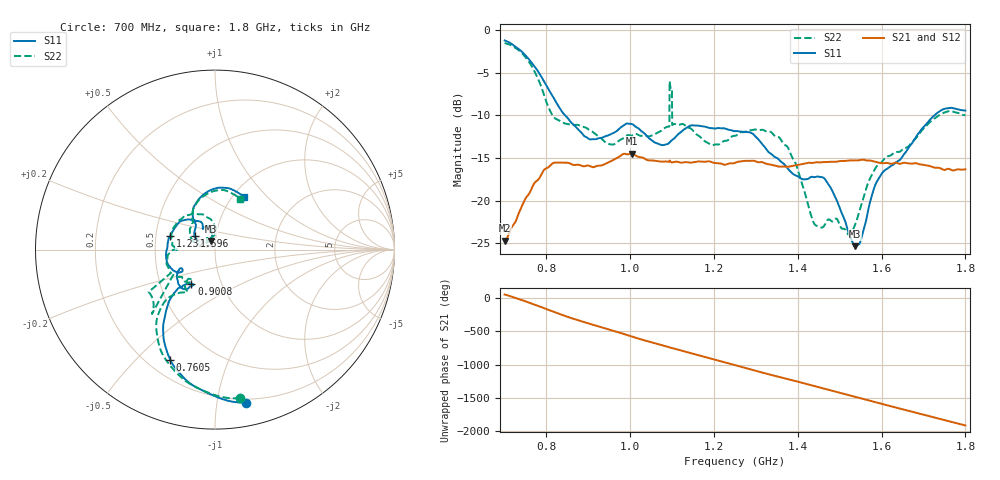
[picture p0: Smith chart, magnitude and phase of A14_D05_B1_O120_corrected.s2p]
! Created with skrf 1.9.0 (http://scikit-rf.org).
# Hz S RI R 50.0
!freq ReS11 ImS11 ReS21 ImS21 ReS12 ImS12 ReS22 ImS22
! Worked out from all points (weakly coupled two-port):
!   1601 points, 700 MHz to 1.8 GHz, reference 50 ohm
!   highest |S21| = -14.48 dB at 1.003 GHz (marker M1); lowest = -24.7 dB at 700 MHz (marker M2)
!   lowest |S11| = -25.4 dB at 1.537 GHz (marker M3), VSWR 1.11, Z = 47.5 + j4.63 ohm
!   |S11| at or under -10 dB: 844.5 MHz to 1.726 GHz (881.6 MHz wide, 68.6 % of centre)
!   |S22| runs from -24.1 to -1.5 dB; largest |S21 - S12| = 0.0035
!   S11 on the Smith chart (normalised r, x): 700 MHz: 0.17, -1.20; 760.5 MHz: 0.29, -0.63; 900.8 MHz: 0.72, -0.29; 1.232 GHz: 0.59, +0.10; 1.596 GHz: 0.79, +0.13; 1.8 GHz: 1.13, +0.75
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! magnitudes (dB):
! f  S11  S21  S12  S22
! 700 MHz  -1.2  -24.7  -24.5  -1.5
! 760.5 MHz  -3.6  -19.0  -18.9  -3.9
! 816.9 MHz  -7.9  -15.6  -15.7  -10.2
! 883.6 MHz  -12.1  -15.9  -15.8  -11.3
! 900.8 MHz  -12.8  -15.9  -15.9  -11.7
! 954.4 MHz  -12.2  -15.4  -15.4  -13.4
! 1.003 GHz  -11.0  -14.5  -14.6  -12.4
! 1.067 GHz  -13.3  -15.4  -15.3  -12.0
! 1.088 GHz  -13.4  -15.4  -15.4  -11.3
! 1.099 GHz  -12.9  -15.5  -15.5  -7.2
! 1.106 GHz  -12.7  -15.5  -15.4  -11.0
! 1.232 GHz  -11.7  -15.7  -15.7  -12.9
! 1.25 GHz  -11.9  -15.6  -15.5  -12.4
! 1.357 GHz  -15.3  -16.0  -16.0  -12.6
! 1.395 GHz  -17.1  -15.9  -15.9  -15.7
! 1.434 GHz  -17.2  -15.6  -15.6  -22.1
! 1.476 GHz  -18.3  -15.5  -15.5  -22.2
! 1.537 GHz  -25.4  -15.3  -15.3  -22.9
! 1.596 GHz  -17.2  -15.6  -15.6  -15.7
! 1.617 GHz  -16.1  -15.6  -15.6  -14.8
! 1.734 GHz  -9.7  -16.1  -16.2  -10.1
! 1.8 GHz  -9.4  -16.3  -16.3  -10.0
